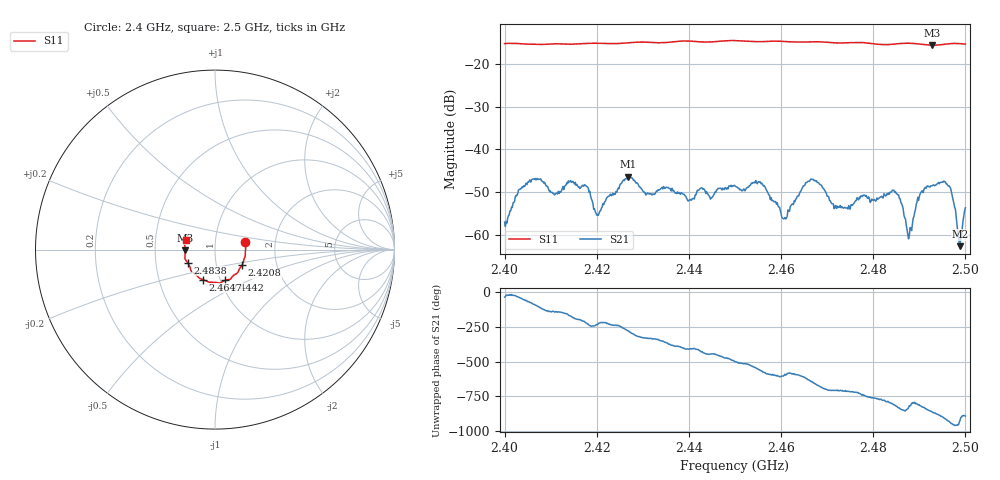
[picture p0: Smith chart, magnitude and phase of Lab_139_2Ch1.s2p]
# Hz S RI R 50
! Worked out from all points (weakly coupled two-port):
!   601 points, 2.4 GHz to 2.5 GHz, reference 50 ohm
!   highest |S21| = -46.33 dB at 2.4268 GHz (marker M1); lowest = -62.6 dB at 2.4988 GHz (marker M2)
!   lowest |S11| = -15.6 dB at 2.4928 GHz (marker M3), VSWR 1.40, Z = 35.8 - j0.352 ohm
!   |S11| at or under -10 dB: start of sweep to end of sweep
!   S12 and S22 are empty: the file has one direction only
!   S11 on the Smith chart (normalised r, x): 2.4 GHz: 1.40, +0.12; 2.4208 GHz: 1.33, -0.24; 2.4442 GHz: 1.05, -0.37; 2.4647 GHz: 0.83, -0.29; 2.4838 GHz: 0.73, -0.11; 2.5 GHz: 0.72, +0.08
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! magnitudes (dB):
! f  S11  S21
! 2.4 GHz  -15.2  -57.0
! 2.4058 GHz  -15.4  -47.2
! 2.4167 GHz  -15.2  -48.7
! 2.4208 GHz  -15.2  -54.3
! 2.4268 GHz  -15.1  -46.3
! 2.4333 GHz  -15.0  -49.4
! 2.4442 GHz  -14.9  -50.5
! 2.45 GHz  -14.5  -48.5
! 2.4555 GHz  -14.8  -47.6
! 2.4607 GHz  -14.7  -56.2
! 2.4647 GHz  -14.9  -48.9
! 2.4667 GHz  -14.8  -47.0
! 2.472 GHz  -15.1  -53.8
! 2.4833 GHz  -15.5  -50.2
! 2.4838 GHz  -15.4  -50.0
! 2.4857 GHz  -15.2  -51.5
! 2.4878 GHz  -15.2  -60.2
! 2.4902 GHz  -15.3  -50.4
! 2.4928 GHz  -15.6  -48.5
! 2.4965 GHz  -15.3  -48.6
! 2.4988 GHz  -15.2  -62.6
! 2.5 GHz  -15.4  -53.6
